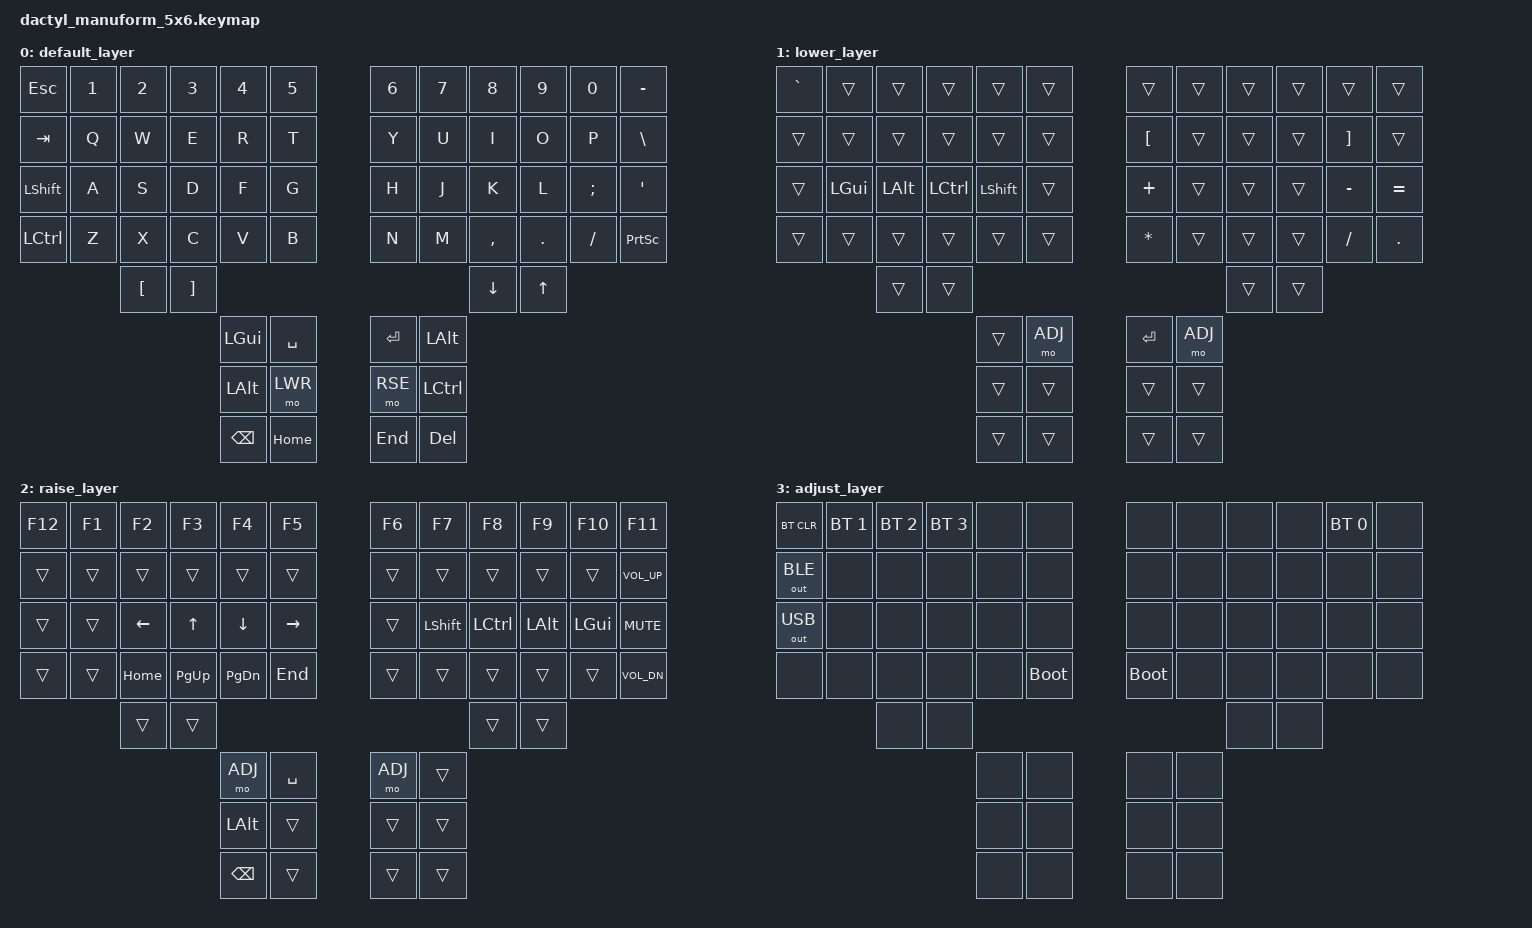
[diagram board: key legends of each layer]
#include <behaviors.dtsi>
#include <dt-bindings/zmk/keys.h>
#include <dt-bindings/zmk/bt.h>
#include <dt-bindings/zmk/outputs.h>

#define DEFAULT 0
#define LWR 1
#define RSE 2
#define ADJ 3

/ {
    keymap {
        compatible = "zmk,keymap";

        default_layer {
            bindings = <
                &kp ESC   &kp N1 &kp N2 &kp N3 &kp N4 &kp N5              &kp N6 &kp N7 &kp N8    &kp N9  &kp N0   &kp MINUS
                &kp TAB   &kp Q  &kp W  &kp E  &kp R  &kp T               &kp Y  &kp U  &kp I     &kp O   &kp P    &kp BSLH
                &kp LSHFT &kp A  &kp S  &kp D  &kp F  &kp G               &kp H  &kp J  &kp K     &kp L   &kp SEMI &kp SQT
                &kp LCTRL &kp Z  &kp X  &kp C  &kp V  &kp B               &kp N  &kp M  &kp COMMA &kp DOT &kp FSLH &kp PSCRN
                                 &kp LBKT &kp RBKT                                      &kp DOWN  &kp UP
                                            &kp LGUI &kp SPACE            &kp RET  &kp LALT
                                            &kp LALT &mo LWR              &mo RSE  &kp LCTRL
                                            &kp BSPC &kp HOME             &kp END  &kp DEL
            >;
        };

        lower_layer {
            bindings = <
                &kp GRAVE &trans   &trans   &trans    &trans    &trans      &trans   &trans   &trans   &trans &trans    &trans
                &trans    &trans   &trans   &trans    &trans    &trans      &kp LBKT &trans   &trans   &trans &kp RBKT  &trans
                &trans    &kp LGUI &kp LALT &kp LCTRL &kp LSHFT &trans      &kp PLUS &trans   &trans   &trans &kp MINUS &kp EQUAL
                &trans    &trans   &trans   &trans    &trans    &trans      &kp STAR &trans   &trans   &trans &kp FSLH  &kp DOT
                                   &trans   &trans                                            &trans   &trans
                                               &trans &mo ADJ               &kp RET &mo ADJ
                                               &trans &trans                &trans  &trans
                                               &trans &trans                &trans  &trans
            >;
        };

        raise_layer {
            bindings = <
                &kp F12 &kp F1 &kp F2   &kp F3      &kp F4        &kp F5       &kp F6 &kp F7    &kp F8    &kp F9   &kp F10  &kp F11
                &trans  &trans &trans   &trans      &trans        &trans       &trans &trans    &trans    &trans   &trans   &kp K_VOL_UP
                &trans  &trans &kp LEFT &kp UP      &kp DOWN      &kp RIGHT    &trans &kp LSHFT &kp LCTRL &kp LALT &kp LGUI &kp K_MUTE
                &trans  &trans &kp HOME &kp PAGE_UP &kp PAGE_DOWN &kp END      &trans &trans    &trans    &trans   &trans   &kp K_VOL_DN
                               &trans   &trans                                                  &trans    &trans
                                             &mo ADJ  &kp SPACE            &mo ADJ &trans
                                             &kp LALT &trans               &trans  &trans
                                             &kp BSPC &trans               &trans  &trans
            >;
        };

        adjust_layer {
            bindings = <
                &bt BT_CLR  &bt BT_SEL 1 &bt BT_SEL 2 &bt BT_SEL 3     &none       &none  &none &none &none &none &bt BT_SEL 0 &none
                &out OUT_BLE &none &none &none &none  &none            &none       &none  &none &none &none &none
                &out OUT_USB &none &none &none &none  &none            &none       &none  &none &none &none &none
                &none       &none  &none &none &none  &bootloader      &bootloader &none  &none &none &none &none
                                   &none &none                                            &none &none
                                                      &none &none             &none &none
                                                      &none &none             &none &none
                                                      &none &none             &none &none
            >;
        };
    };
};
